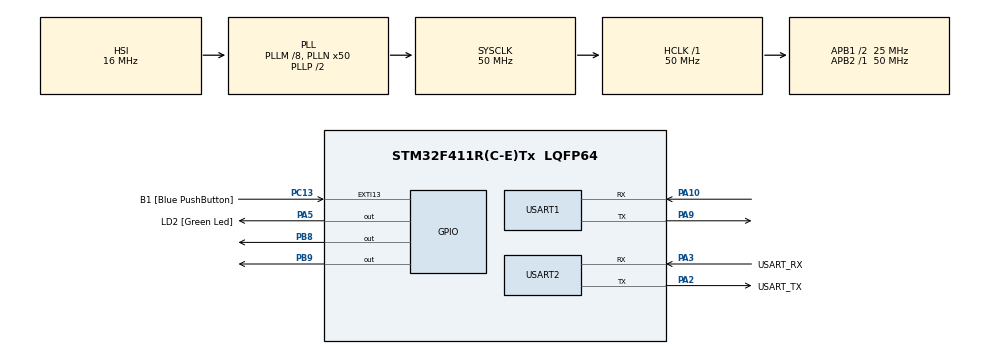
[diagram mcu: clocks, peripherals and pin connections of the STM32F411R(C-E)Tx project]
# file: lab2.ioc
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Mcu.Family=STM32F4
Mcu.Name=STM32F411R(C-E)Tx
Mcu.Package=LQFP64
NVIC.PriorityGroup=NVIC_PRIORITYGROUP_0
PA10.Mode=Asynchronous
PA10.Signal=USART1_RX
PA13.GPIO_Label=TMS
PA13.Mode=Serial_Wire
PA13.Signal=SYS_JTMS-SWDIO
PA14.GPIO_Label=TCK
PA14.Mode=Serial_Wire
PA14.Signal=SYS_JTCK-SWCLK
PA2.GPIO_Label=USART_TX
PA2.Mode=Asynchronous
PA2.Signal=USART2_TX
PA3.GPIO_Label=USART_RX
PA3.Mode=Asynchronous
PA3.Signal=USART2_RX
PA5.GPIO_Label=LD2 [Green Led]
PA5.Signal=GPIO_Output
PA9.Mode=Asynchronous
PA9.Signal=USART1_TX
PB3.GPIO_Label=SWO
PB3.Signal=SYS_JTDO-SWO
PB8.Signal=GPIO_Output
PB9.Signal=GPIO_Output
PC13-ANTI_TAMP.GPIO_Label=B1 [Blue PushButton]
PC13-ANTI_TAMP.GPIO_ModeDefaultEXTI=GPIO_MODE_IT_FALLING
PC13-ANTI_TAMP.Signal=GPXTI13
PC14-OSC32_IN.Mode=LSE-External-Oscillator
PC14-OSC32_IN.Signal=RCC_OSC32_IN
PC15-OSC32_OUT.Mode=LSE-External-Oscillator
PC15-OSC32_OUT.Signal=RCC_OSC32_OUT
PH0\ -\ OSC_IN.Mode=HSE-External-Clock-Source
PH0\ -\ OSC_IN.Signal=RCC_OSC_IN
PH1\ -\ OSC_OUT.Mode=HSE-External-Clock-Source
PH1\ -\ OSC_OUT.Signal=RCC_OSC_OUT
ProjectManager.HeapSize=0x200
ProjectManager.StackSize=0x400
ProjectManager.TargetToolchain=STM32CubeIDE
RCC.48MHZClocksFreq_Value=25000000
RCC.AHBFreq_Value=50000000
RCC.APB1CLKDivider=RCC_HCLK_DIV2
RCC.APB1Freq_Value=25000000
RCC.APB1TimFreq_Value=50000000
RCC.APB2Freq_Value=50000000
RCC.APB2TimFreq_Value=50000000
RCC.CortexFreq_Value=50000000
RCC.FLatency-AdvancedSettings=FLASH_LATENCY_1
RCC.HCLKFreq_Value=50000000
RCC.HSE_VALUE=8000000
RCC.HSI_VALUE=16000000
RCC.PLLM=8
RCC.PLLN=50
RCC.SYSCLKFreq_VALUE=50000000
RCC.SYSCLKSource=RCC_SYSCLKSOURCE_PLLCLK
RCC.VCOOutputFreq_Value=100000000
USART1.VirtualMode=VM_ASYNC
USART2.VirtualMode=VM_ASYNC
board=NUCLEO-F411RE

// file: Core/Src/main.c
/* USER CODE BEGIN Header */
/**
 ******************************************************************************
 * @file           : main.c
 * @brief          : Main program body
 ******************************************************************************
 * @attention
 *
 * Copyright (c) 2023 STMicroelectronics.
 * All rights reserved.
 *
 * This software is licensed under terms that can be found in the LICENSE file
 * in the root directory of this software component.
 * If no LICENSE file comes with this software, it is provided AS-IS.
 *
 ******************************************************************************
 */
/* USER CODE END Header */
#include "main.h"

/* USER CODE BEGIN PD */
#define HIGH GPIO_PIN_SET
#define LOW GPIO_PIN_RESET
/* USER CODE END PD */

UART_HandleTypeDef huart1;
UART_HandleTypeDef huart2;

void SystemClock_Config(void);
static void MX_GPIO_Init(void);
static void MX_USART2_UART_Init(void);
static void MX_USART1_UART_Init(void);

/* USER CODE BEGIN 0 */
uint8_t buff[1]; // char

void pollInputBlock() {
	HAL_UART_Receive(&huart2, buff, sizeof(buff), HAL_MAX_DELAY);
	HAL_UART_Transmit(&huart2, buff, sizeof(buff), HAL_MAX_DELAY);
	if (buff[0] == '\r') {
		HAL_UART_Transmit(&huart2, "\n\r", 2, HAL_MAX_DELAY);
	}
}
/* USER CODE END 0 */

int main(void) {

	/* MCU Configuration--------------------------------------------------------*/

	/* Reset of all peripherals, Initializes the Flash interface and the Systick. */
	HAL_Init();

	/* Configure the system clock */
	SystemClock_Config();

	/* Initialize all configured peripherals */
	MX_GPIO_Init();
	MX_USART2_UART_Init();
	MX_USART1_UART_Init();

	/* Infinite loop */
	while (1) {

		/* USER CODE BEGIN 3 */

		// 1
//		HAL_GPIO_WritePin(GPIOA, GPIO_PIN_5, HIGH);
//		HAL_Delay(200);
//		HAL_GPIO_WritePin(GPIOA, GPIO_PIN_5, LOW);
//		HAL_Delay(200);
// 2
//		HAL_GPIO_WritePin(GPIOB, GPIO_PIN_9, HIGH);
//		HAL_Delay(200);
//		HAL_GPIO_WritePin(GPIOB, GPIO_PIN_9, LOW);
//		HAL_Delay(200);
// 3
//		GPIO_PinState state = HAL_GPIO_ReadPin(GPIOC, GPIO_PIN_13);
//		if (!state) {
//			HAL_Delay(100);
//			if (!HAL_GPIO_ReadPin(GPIOC, GPIO_PIN_13)) {
//				HAL_GPIO_TogglePin(GPIOB, GPIO_PIN_9);
//				HAL_Delay(200);
//			}
//		}
// 4
//		HAL_UART_Receive(&huart2, buff, sizeof(buff), HAL_MAX_DELAY);
//		if (buff[0] == '\r')
//			HAL_UART_Transmit(&huart2, "\n\r", 2, HAL_MAX_DELAY);
//		HAL_UART_Transmit(&huart2, buff, sizeof(buff), HAL_MAX_DELAY);
// 5
		pollInputBlock();
		if (buff[0] != 'o')
			continue;
		pollInputBlock();
		if (buff[0] == 'n') {
			pollInputBlock();
			if (buff[0] != '\r')
				continue;
			HAL_GPIO_WritePin(GPIOB, GPIO_PIN_9, HIGH);
		} else if (buff[0] == 'f') {
			pollInputBlock();
			if (buff[0] != 'f')
				continue;
			pollInputBlock();
			if (buff[0] != '\r')
				continue;
			HAL_GPIO_WritePin(GPIOB, GPIO_PIN_9, LOW);
		}
	}
	/* USER CODE END 3 */
}

void SystemClock_Config(void) {
	RCC_OscInitTypeDef RCC_OscInitStruct = { 0 };
	RCC_ClkInitTypeDef RCC_ClkInitStruct = { 0 };

	/** Configure the main internal regulator output voltage
	 */
	__HAL_RCC_PWR_CLK_ENABLE();
	__HAL_PWR_VOLTAGESCALING_CONFIG(PWR_REGULATOR_VOLTAGE_SCALE1);

	/** Initializes the RCC Oscillators according to the specified parameters
	 * in the RCC_OscInitTypeDef structure.
	 */
	RCC_OscInitStruct.OscillatorType = RCC_OSCILLATORTYPE_HSI;
	RCC_OscInitStruct.HSIState = RCC_HSI_ON;
	RCC_OscInitStruct.HSICalibrationValue = RCC_HSICALIBRATION_DEFAULT;
	RCC_OscInitStruct.PLL.PLLState = RCC_PLL_ON;
	RCC_OscInitStruct.PLL.PLLSource = RCC_PLLSOURCE_HSI;
	RCC_OscInitStruct.PLL.PLLM = 8;
	RCC_OscInitStruct.PLL.PLLN = 50;
	RCC_OscInitStruct.PLL.PLLP = RCC_PLLP_DIV2;
	RCC_OscInitStruct.PLL.PLLQ = 4;
	if (HAL_RCC_OscConfig(&RCC_OscInitStruct) != HAL_OK) {
		Error_Handler();
	}

	/** Initializes the CPU, AHB and APB buses clocks
	 */
	RCC_ClkInitStruct.ClockType = RCC_CLOCKTYPE_HCLK | RCC_CLOCKTYPE_SYSCLK
			| RCC_CLOCKTYPE_PCLK1 | RCC_CLOCKTYPE_PCLK2;
	RCC_ClkInitStruct.SYSCLKSource = RCC_SYSCLKSOURCE_PLLCLK;
	RCC_ClkInitStruct.AHBCLKDivider = RCC_SYSCLK_DIV1;
	RCC_ClkInitStruct.APB1CLKDivider = RCC_HCLK_DIV2;
	RCC_ClkInitStruct.APB2CLKDivider = RCC_HCLK_DIV1;

	if (HAL_RCC_ClockConfig(&RCC_ClkInitStruct, FLASH_LATENCY_1) != HAL_OK) {
		Error_Handler();
	}
}

static void MX_USART1_UART_Init(void) {

	huart1.Instance = USART1;
	huart1.Init.BaudRate = 115200;
	huart1.Init.WordLength = UART_WORDLENGTH_8B;
	huart1.Init.StopBits = UART_STOPBITS_1;
	huart1.Init.Parity = UART_PARITY_NONE;
	huart1.Init.Mode = UART_MODE_TX_RX;
	huart1.Init.HwFlowCtl = UART_HWCONTROL_NONE;
	huart1.Init.OverSampling = UART_OVERSAMPLING_16;
	if (HAL_UART_Init(&huart1) != HAL_OK) {
		Error_Handler();
	}

}

static void MX_USART2_UART_Init(void) {

	huart2.Instance = USART2;
	huart2.Init.BaudRate = 115200;
	huart2.Init.WordLength = UART_WORDLENGTH_8B;
	huart2.Init.StopBits = UART_STOPBITS_1;
	huart2.Init.Parity = UART_PARITY_NONE;
	huart2.Init.Mode = UART_MODE_TX_RX;
	huart2.Init.HwFlowCtl = UART_HWCONTROL_NONE;
	huart2.Init.OverSampling = UART_OVERSAMPLING_16;
	if (HAL_UART_Init(&huart2) != HAL_OK) {
		Error_Handler();
	}

}

static void MX_GPIO_Init(void) {
	GPIO_InitTypeDef GPIO_InitStruct = { 0 };

	/* GPIO Ports Clock Enable */
	__HAL_RCC_GPIOC_CLK_ENABLE();
	__HAL_RCC_GPIOH_CLK_ENABLE();
	__HAL_RCC_GPIOA_CLK_ENABLE();
	__HAL_RCC_GPIOB_CLK_ENABLE();

	/*Configure GPIO pin Output Level */
	HAL_GPIO_WritePin(LD2_GPIO_Port, LD2_Pin, GPIO_PIN_RESET);

	/*Configure GPIO pin Output Level */
	HAL_GPIO_WritePin(GPIOB, GPIO_PIN_8 | GPIO_PIN_9, GPIO_PIN_RESET);

	/*Configure GPIO pin : B1_Pin */
	GPIO_InitStruct.Pin = B1_Pin;
	GPIO_InitStruct.Mode = GPIO_MODE_IT_FALLING;
	GPIO_InitStruct.Pull = GPIO_NOPULL;
	HAL_GPIO_Init(B1_GPIO_Port, &GPIO_InitStruct);

	/*Configure GPIO pin : LD2_Pin */
	GPIO_InitStruct.Pin = LD2_Pin;
	GPIO_InitStruct.Mode = GPIO_MODE_OUTPUT_PP;
	GPIO_InitStruct.Pull = GPIO_NOPULL;
	GPIO_InitStruct.Speed = GPIO_SPEED_FREQ_LOW;
	HAL_GPIO_Init(LD2_GPIO_Port, &GPIO_InitStruct);

	/*Configure GPIO pins : PB8 PB9 */
	GPIO_InitStruct.Pin = GPIO_PIN_8 | GPIO_PIN_9;
	GPIO_InitStruct.Mode = GPIO_MODE_OUTPUT_PP;
	GPIO_InitStruct.Pull = GPIO_NOPULL;
	GPIO_InitStruct.Speed = GPIO_SPEED_FREQ_LOW;
	HAL_GPIO_Init(GPIOB, &GPIO_InitStruct);

}

void Error_Handler(void) {
	__disable_irq();
	while (1) {
	}
}
